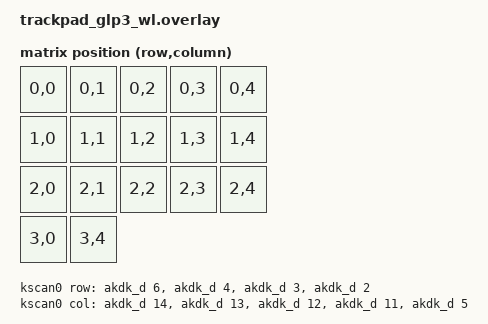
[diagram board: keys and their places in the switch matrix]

#include <dt-bindings/zmk/matrix_transform.h>
#include <input/processors.dtsi>
#include <dt-bindings/zmk/input_transform.h>
#include "layouts.dtsi"

/ {
    chosen {
        zmk,physical-layout = &physical_layout0;
    };

    default_transform: keymap_transform_0 {
        compatible = "zmk,matrix-transform";
        columns = <5>;
        rows = <4>;
        map = <
            RC(0,0) RC(0,1) RC(0,2) RC(0,3) RC(0,4)
			RC(1,0) RC(1,1) RC(1,2) RC(1,3) RC(1,4)
			RC(2,0) RC(2,1) RC(2,2) RC(2,3) RC(2,4)
			RC(3,0) RC(3,4)
        >;
    };

    kscan0: kscan {
        compatible = "zmk,kscan-gpio-matrix";
        wakeup-source;

        diode-direction = "col2row";
        row-gpios
            = <&akdk_d 6 (GPIO_ACTIVE_HIGH | GPIO_PULL_DOWN)>
			,<&akdk_d 4 (GPIO_ACTIVE_HIGH | GPIO_PULL_DOWN)>
			,<&akdk_d 3 (GPIO_ACTIVE_HIGH | GPIO_PULL_DOWN)>
			,<&akdk_d 2 (GPIO_ACTIVE_HIGH | GPIO_PULL_DOWN)>
            ;
        col-gpios
            = <&akdk_d 14 GPIO_ACTIVE_HIGH>
			,<&akdk_d 13 GPIO_ACTIVE_HIGH>
			,<&akdk_d 12 GPIO_ACTIVE_HIGH>
			,<&akdk_d 11 GPIO_ACTIVE_HIGH>
			,<&akdk_d 5 GPIO_ACTIVE_HIGH>
            ;
    };

    trackpad_listener: trackpad_listener {
        compatible = "zmk,input-listener";
        device = <&trackpad>;
    };
};

&physical_layout0 {
    kscan = <&kscan0>;
    transform = <&default_transform>;
};

&pinctrl {
    i2c0_default: i2c0_default {
        group1 {
            psels = <NRF_PSEL(TWIM_SDA, 0, 12)>,
                    <NRF_PSEL(TWIM_SCL, 1, 9)>;
            bias-pull-up;
        };
    };

    i2c0_sleep: i2c0_sleep {
        group1 {
            psels = <NRF_PSEL(TWIM_SDA, 0, 12)>,
                    <NRF_PSEL(TWIM_SCL, 1, 9)>;
            bias-pull-up;
            low-power-enable;
        };
    };
};

&i2c0 {
    status = "okay";
    compatible = "nordic,nrf-twim";
    pinctrl-0 = <&i2c0_default>;
    pinctrl-1 = <&i2c0_sleep>;
    pinctrl-names = "default", "sleep";
    clock-frequency = <I2C_BITRATE_FAST>;
    zephyr,concat-buf-size = <32>;

    trackpad: trackpad@56 {
        status = "okay";
        compatible = "azoteq,iqs7211e";
        reg = <0x56>;
        irq-gpios = <&gpio0 13 GPIO_PULL_UP>; 
    };
};

